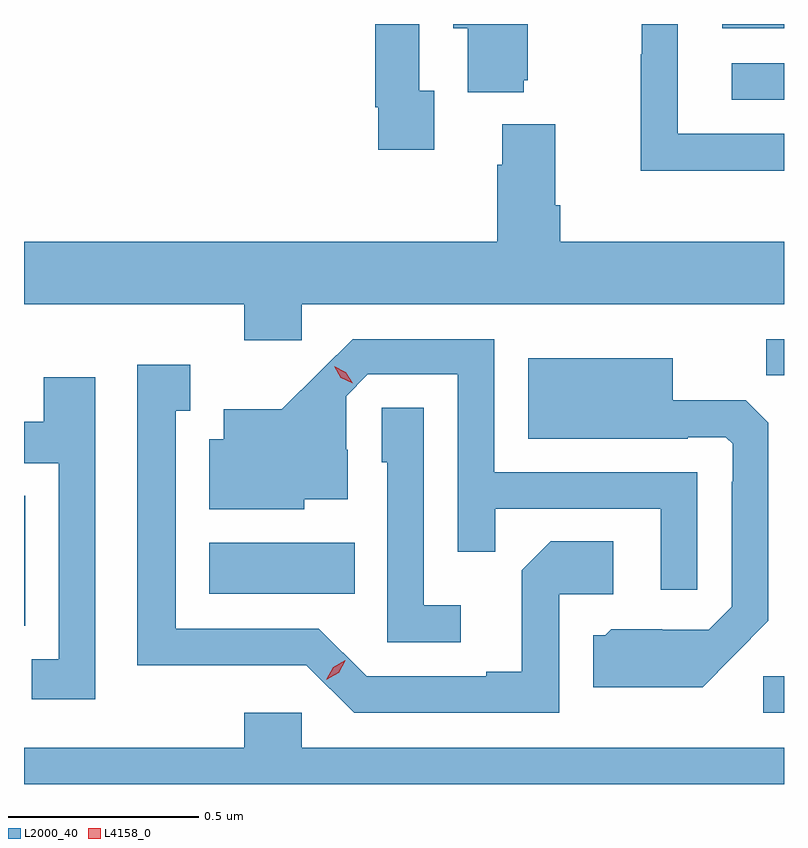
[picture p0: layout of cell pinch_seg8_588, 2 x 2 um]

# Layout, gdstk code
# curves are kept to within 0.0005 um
import gdstk
lib = gdstk.Library(unit=1e-6, precision=1e-09)
def R(c, l, rs):  # rectangles x0, y0, x1, y1
    for r in rs: c.add(gdstk.rectangle(r[:2], r[2:], *l))
def P(c, l, *ps):  # polygons
    for p in ps: c.add(gdstk.Polygon(p, *l))
L2000_40 = (2000, 40)
L4158_0 = (4158, 0)

pinch_seg8_588 = lib.new_cell('pinch_seg8_588')
R(pinch_seg8_588, L2000_40, [(173.907,1094.112,173.961,1094.208), (171.961,1094.341,171.964,1094.684), (172.448,1094.426,172.832,1094.56), (173.914,1095.001,173.961,1095.096), (173.823,1095.726,173.961,1095.822), (173.798,1095.914,173.961,1095.925)])
P(pinch_seg8_588, L2000_40, [(173.961,1095.636),(173.682,1095.636),(173.682,1095.925),(173.586,1095.925),(173.586,1095.845),(173.584,1095.845),(173.584,1095.539),(173.961,1095.539)],
  [(173.041,1095.75),(173.001,1095.75),(173.001,1095.925),(172.885,1095.925),(172.885,1095.706),(172.893,1095.706),(172.893,1095.594),(173.041,1095.594)],
  [(173.276,1095.777),(173.287,1095.777),(173.287,1095.925),(173.09,1095.925),(173.09,1095.914),(173.129,1095.914),(173.129,1095.746),(173.276,1095.746)],
  [(172.692,1095.188),(173.961,1095.188),(173.961,1095.352),(173.372,1095.352),(173.372,1095.448),(173.359,1095.448),(173.359,1095.661),(173.219,1095.661),(173.219,1095.554),(173.207,1095.554),(173.207,1095.352),(171.961,1095.352),(171.961,1095.188),(172.541,1095.188),(172.541,1095.093),(172.692,1095.093)],
  [(173.733,1094.745),(173.199,1094.745),(173.199,1095.096),(172.826,1095.096),(172.639,1094.911),(172.487,1094.911),(172.487,1094.832),(172.448,1094.832),(172.448,1094.648),(172.698,1094.648),(172.698,1094.675),(172.813,1094.675),(172.813,1094.804),(172.809,1094.804),(172.809,1094.946),(172.866,1095.003),(173.103,1095.003),(173.103,1094.536),(173.201,1094.536),(173.201,1094.649),(173.637,1094.649),(173.637,1094.436),(173.733,1094.436)],
  [(173.827,1094.261),(173.919,1094.354),(173.919,1094.876),(173.86,1094.935),(173.668,1094.935),(173.668,1095.046),(173.288,1095.046),(173.288,1094.834),(173.708,1094.834),(173.708,1094.838),(173.808,1094.838),(173.826,1094.82),(173.826,1094.72),(173.823,1094.72),(173.823,1094.391),(173.763,1094.331),(173.64,1094.331),(173.64,1094.332),(173.506,1094.332),(173.49,1094.316),(173.459,1094.316),(173.459,1094.18),(173.747,1094.18)],
  [(173.37,1094.424),(173.512,1094.424),(173.512,1094.564),(173.347,1094.564),(173.271,1094.488),(173.271,1094.221),(173.177,1094.221),(173.177,1094.208),(172.863,1094.208),(172.737,1094.334),(172.36,1094.334),(172.36,1094.907),(172.399,1094.907),(172.399,1095.028),(172.259,1095.028),(172.259,1094.237),(172.482,1094.237),(172.482,1094.238),(172.704,1094.238),(172.83,1094.112),(173.37,1094.112)],
  [(172.149,1094.995),(172.013,1094.995),(172.013,1094.878),(171.961,1094.878),(171.961,1094.769),(172.053,1094.769),(172.053,1094.253),(171.981,1094.253),(171.981,1094.148),(172.149,1094.148)],
  [(173.11,1094.395),(173.013,1094.395),(173.013,1094.915),(172.902,1094.915),(172.902,1094.772),(172.917,1094.772),(172.917,1094.298),(173.11,1094.298)],
  [(173.961,1094.02),(172.692,1094.02),(172.692,1094.113),(172.541,1094.113),(172.541,1094.02),(171.961,1094.02),(171.961,1093.925),(173.961,1093.925)])
P(pinch_seg8_588, L4158_0, [(172.826,1094.98),(172.795,1094.994),(172.777,1095.024),(172.777,1095.024),(172.778,1095.024),(172.808,1095.009),(172.826,1094.98),(172.826,1094.98)],
  [(172.757,1094.2),(172.757,1094.2),(172.775,1094.232),(172.806,1094.251),(172.807,1094.251),(172.807,1094.25),(172.789,1094.218),(172.757,1094.2)])

lib.write_gds('pinch_seg8_588.gds')
